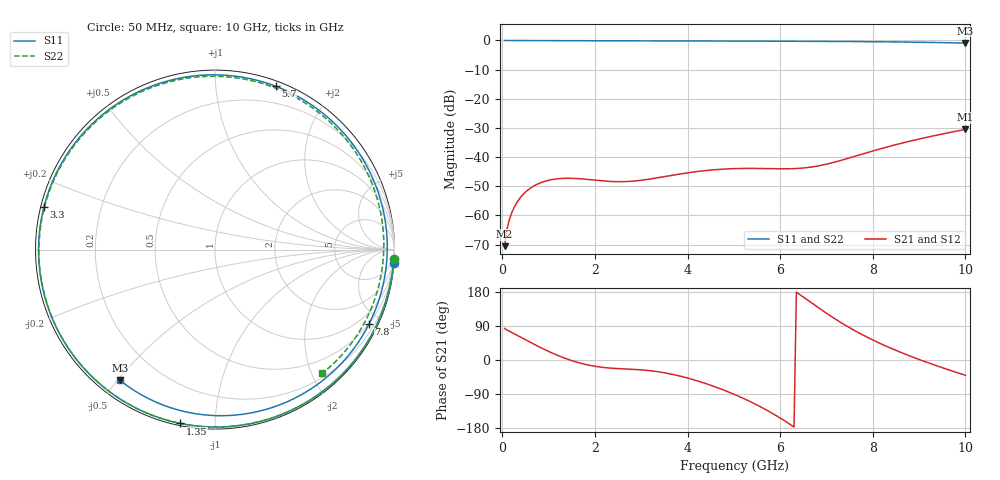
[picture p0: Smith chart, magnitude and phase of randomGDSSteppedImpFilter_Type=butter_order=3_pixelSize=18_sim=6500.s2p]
! freq	dB(S11)	phase(S11)	dB(S12)	phase(S12)
!  dB(S21)	phase(S21)	dB(S22)	phase(S22)
!S-par simulation data
#  GHz  S  DB  R 50
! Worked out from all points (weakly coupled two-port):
!   200 points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, 50 MHz to 10 GHz, reference 50 ohm
!   highest |S21| = -30.50 dB at 10 GHz (marker M1); lowest = -70.5 dB at 50 MHz (marker M2)
!   lowest |S11| = -0.9 dB at 10 GHz (marker M3), VSWR 19.03, Z = 3.31 - j25.4 ohm
!   |S11| at or under -10 dB: nowhere
!   |S22| runs from -0.8 to 0.0 dB; largest |S21 - S12| = 0
!   S11 on the Smith chart (normalised r, x): 50 MHz: 1, -26; 1.35 GHz: 0.01, -0.82; 3.3 GHz: 0.01, +0.12; 5.7 GHz: 0.05, +1.44; 7.8 GHz: 0.47, -4.31; 10 GHz: 0.07, -0.51
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0.05  -0.02 -4.4  -70.53 83.3  -70.53 83.3  -0.01 -3.0
0.1  -0.04 -8.6  -64.88 79.2  -64.88 79.2  -0.02 -6.1
0.2  -0.05 -16.9  -59.25 73.0  -59.25 73.0  -0.03 -12.4
0.45  -0.06 -37.4  -52.79 56.9  -52.79 56.9  -0.04 -27.9
0.9  -0.08 -71.7  -48.38 28.5  -48.38 28.5  -0.07 -54.4
1.35  -0.11 -101.4  -47.26 4.8  -47.26 4.8  -0.09 -78.7
1.75  -0.12 -124.3  -47.51 -10.4  -47.51 -10.4  -0.11 -98.2
2.1  -0.13 -142.1  -48.05 -18.5  -48.05 -18.5  -0.12 -113.8
2.5  -0.14 -160.6  -48.43 -22.7  -48.43 -22.7  -0.13 -130.1
3.3  -0.16 166.0  -47.23 -29.9  -47.23 -29.9  -0.15 -159.3
3.4  -0.16 162.0  -46.96 -31.7  -46.96 -31.7  -0.15 -162.7
4.3  -0.19 126.8  -44.77 -58.4  -44.77 -58.4  -0.18 168.0
5.05  -0.22 96.9  -43.93 -92.8  -43.93 -92.8  -0.21 144.3
5.7  -0.26 69.6  -43.93 -131.6  -43.93 -131.6  -0.25 123.3
6.2  -0.28 47.7  -43.99 -168.7  -43.99 -168.7  -0.27 106.4
6.7  -0.31 25.0  -43.35 149.0  -43.35 149.0  -0.30 88.8
7.25  -0.36 -0.4  -41.40 103.6  -41.40 103.6  -0.34 68.2
7.8  -0.42 -25.9  -38.83 65.1  -38.83 65.1  -0.39 46.5
8.35  -0.50 -51.1  -36.35 33.2  -36.35 33.2  -0.45 23.5
9.15  -0.66 -87.2  -33.27 -5.3  -33.27 -5.3  -0.58 -11.3
9.55  -0.77 -105.2  -31.92 -22.3  -31.92 -22.3  -0.67 -29.1
10  -0.91 -125.9  -30.50 -40.4  -30.50 -40.4  -0.80 -49.1
